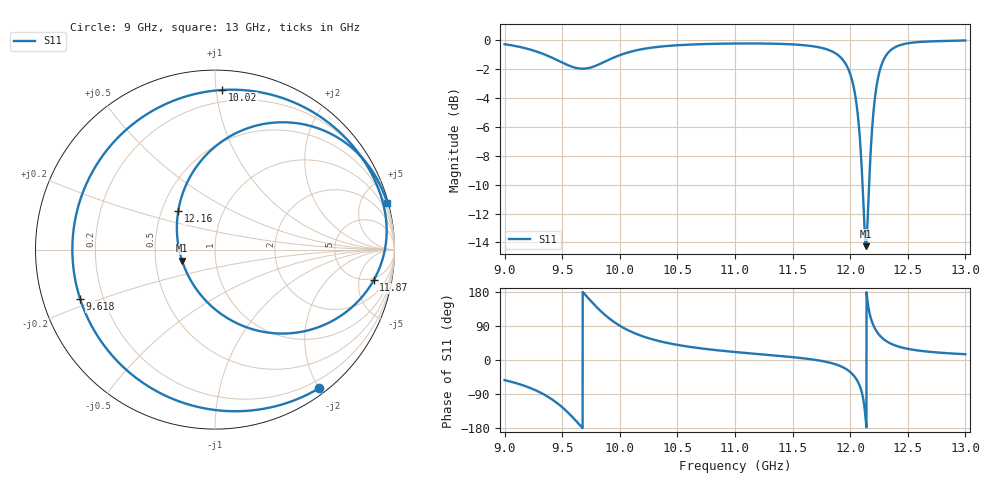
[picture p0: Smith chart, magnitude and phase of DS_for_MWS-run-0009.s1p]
! TOUCHSTONE file generated by CST DESIGN STUDIO
! Date and time: Tue Feb  4 14:19:30 2025
! Project name: C:\Work\MatlabApps\UnitCellOptimizationMatlab\CST\unitcell.cst
! Tree item: Tasks\Sweep1\SPara1\S-Parameters
! Header version: 2024
! Port assignment regex: !\s*Touchstone port\s*([0-9]+)\s*=\s*(CST MWS port|CST DES external port|CST DES block port)\s*(.+)\s* \(\"(.*)\"\)(\s*mode\s*([0-9]+))?.*
! Touchstone port assignment:
! Touchstone port 1 = CST DES external port 1 ("")
# GHz S MA R 50
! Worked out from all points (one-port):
!   4001 points, 9 GHz to 13 GHz, reference 50 ohm
!   lowest |S11| = -14.3 dB at 12.14 GHz (marker M1), VSWR 1.48, Z = 34.3 - j4.4 ohm
!   |S11| at or under -10 dB: 12.10724 GHz to 12.16406 GHz (56.82 MHz wide, 0.468 % of centre)
!   S11 on the Smith chart (normalised r, x): 9 GHz: 0.09, -2.00; 9.618 GHz: 0.11, -0.17; 10.02 GHz: 0.12, +1.04; 11.87 GHz: 4.46, -8.05; 12.16 GHz: 0.61, +0.28; 13 GHz: 0.14, +7.46
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9  0.9659 -53.1
9.165  0.9387 -67.4
9.317  0.8997 -86.9
9.415  0.8664 -104.7
9.5  0.8348 -124.7
9.618  0.8002 -159.9
9.717  0.7974 166.4
9.826  0.8251 131.5
9.908  0.8547 109.7
10  0.8854 90.4
10.017  0.8904 87.4
10.229  0.9339 59.5
10.5  0.958 39.9
11  0.9714 21.1
11.5  0.9645 7.6
11.868  0.9007 -10.9
11.943  0.8462 -20.1
12  0.7622 -31.7
12.079  0.4852 -65.5
12.107  0.3177 -93.2
12.136  0.1937 -161.4
12.161  0.2958 133.9
12.205  0.5803 89.1
12.251  0.7675 66.7
12.297  0.8641 53.3
12.349  0.9194 43.7
12.5  0.973 29.5
13  0.9952 15.3
